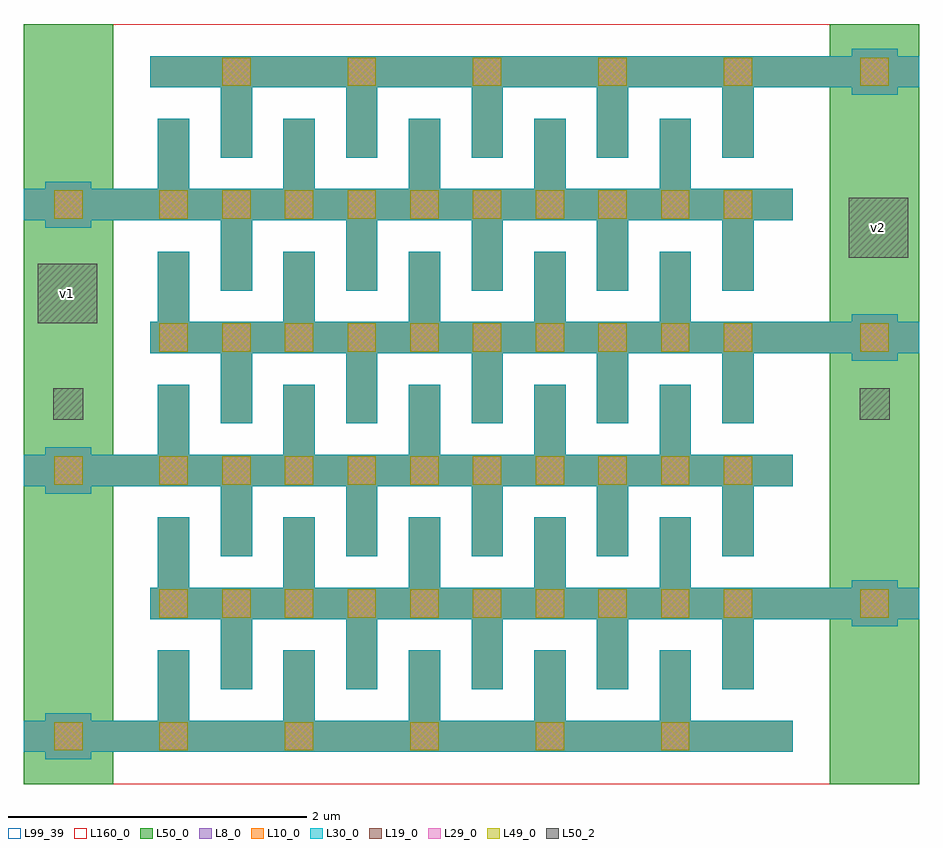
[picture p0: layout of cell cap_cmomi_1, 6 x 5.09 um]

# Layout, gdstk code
import gdstk
lib = gdstk.Library(unit=1e-6, precision=1e-09)
def R(c, l, rs):  # rectangles x0, y0, x1, y1
    for r in rs: c.add(gdstk.rectangle(r[:2], r[2:], *l))
def A(c, l, x, y, w, h, nx, ny, dx, dy):  # array of equal rectangles
    R(c, l, [(x+i*dx, y+j*dy, x+i*dx+w, y+j*dy+h) for i in range(nx) for j in range(ny)])
L8_0 = (8, 0)
L10_0 = (10, 0)
L19_0 = (19, 0)
L29_0 = (29, 0)
L30_0 = (30, 0)
L49_0 = (49, 0)
L50_0 = (50, 0)
L50_2 = (50, 2)
L99_39 = (99, 39)
L160_0 = (160, 0)

cap_cmomi = lib.new_cell('cap_cmomi')
A(cap_cmomi, L8_0, -0.755, -0.155, 0.31, 0.31, 1, 3, 0, 1.78)
A(cap_cmomi, L8_0, -0.9, -0.105, 5.15, 0.21, 1, 3, 0, 1.78)
A(cap_cmomi, L8_0, 0, 0, 0.21, 0.575, 5, 5, 0.84, 0.89)
A(cap_cmomi, L8_0, 0.42, 0.315, 0.21, 0.575, 5, 5, 0.84, 0.89)
A(cap_cmomi, L8_0, 4.645, 0.735, 0.31, 0.31, 1, 3, 0, 1.78)
A(cap_cmomi, L8_0, -0.05, 0.785, 5.15, 0.21, 1, 3, 0, 1.78)
A(cap_cmomi, L10_0, -0.755, -0.155, 0.31, 0.31, 1, 3, 0, 1.78)
A(cap_cmomi, L10_0, -0.9, -0.105, 5.15, 0.21, 1, 3, 0, 1.78)
A(cap_cmomi, L10_0, 0, 0, 0.21, 0.575, 5, 5, 0.84, 0.89)
A(cap_cmomi, L10_0, 0.42, 0.315, 0.21, 0.575, 5, 5, 0.84, 0.89)
A(cap_cmomi, L10_0, 4.645, 0.735, 0.31, 0.31, 1, 3, 0, 1.78)
A(cap_cmomi, L10_0, -0.05, 0.785, 5.15, 0.21, 1, 3, 0, 1.78)
A(cap_cmomi, L19_0, -0.695, -0.095, 0.19, 0.19, 1, 3, 0, 1.78)
A(cap_cmomi, L19_0, 0.01, -0.095, 0.19, 0.19, 5, 1, 0.84, 0)
A(cap_cmomi, L19_0, 0.01, 0.795, 0.19, 0.19, 10, 4, 0.42, 0.89)
A(cap_cmomi, L19_0, 4.705, 0.795, 0.19, 0.19, 1, 3, 0, 1.78)
A(cap_cmomi, L19_0, 0.43, 4.355, 0.19, 0.19, 5, 1, 0.84, 0)
A(cap_cmomi, L29_0, -0.695, -0.095, 0.19, 0.19, 1, 3, 0, 1.78)
A(cap_cmomi, L29_0, 0.01, -0.095, 0.19, 0.19, 5, 1, 0.84, 0)
A(cap_cmomi, L29_0, 0.01, 0.795, 0.19, 0.19, 10, 4, 0.42, 0.89)
A(cap_cmomi, L29_0, 4.705, 0.795, 0.19, 0.19, 1, 3, 0, 1.78)
A(cap_cmomi, L29_0, 0.43, 4.355, 0.19, 0.19, 5, 1, 0.84, 0)
A(cap_cmomi, L30_0, -0.755, -0.155, 0.31, 0.31, 1, 3, 0, 1.78)
A(cap_cmomi, L30_0, -0.9, -0.105, 5.15, 0.21, 1, 3, 0, 1.78)
A(cap_cmomi, L30_0, 0, 0, 0.21, 0.575, 5, 5, 0.84, 0.89)
A(cap_cmomi, L30_0, 0.42, 0.315, 0.21, 0.575, 5, 5, 0.84, 0.89)
A(cap_cmomi, L30_0, 4.645, 0.735, 0.31, 0.31, 1, 3, 0, 1.78)
A(cap_cmomi, L30_0, -0.05, 0.785, 5.15, 0.21, 1, 3, 0, 1.78)
A(cap_cmomi, L49_0, -0.695, -0.095, 0.19, 0.19, 1, 3, 0, 1.78)
A(cap_cmomi, L49_0, 0.01, -0.095, 0.19, 0.19, 5, 1, 0.84, 0)
A(cap_cmomi, L49_0, 0.01, 0.795, 0.19, 0.19, 10, 4, 0.42, 0.89)
A(cap_cmomi, L49_0, 4.705, 0.795, 0.19, 0.19, 1, 3, 0, 1.78)
A(cap_cmomi, L49_0, 0.43, 4.355, 0.19, 0.19, 5, 1, 0.84, 0)
A(cap_cmomi, L50_0, -0.9, -0.105, 5.15, 0.21, 1, 3, 0, 1.78)
A(cap_cmomi, L50_0, 0, 0, 0.21, 0.575, 5, 5, 0.84, 0.89)
A(cap_cmomi, L50_0, 0.42, 0.315, 0.21, 0.575, 5, 5, 0.84, 0.89)
A(cap_cmomi, L50_0, -0.05, 0.785, 5.15, 0.21, 1, 3, 0, 1.78)
R(cap_cmomi, L50_0, [(-0.9,-0.32,-0.3,4.77), (4.5,-0.32,5.1,4.77)])
R(cap_cmomi, L50_2, [(-0.7,2.12,-0.5,2.33), (4.7,2.12,4.9,2.33)])
R(cap_cmomi, L99_39, [(-0.9,-0.32,5.1,4.77)])
R(cap_cmomi, L160_0, [(-0.9,-0.32,5.1,4.77)])
cap_cmomi.add(gdstk.Label('cap_cmomi C=16.298fF', (-0.9,-0.82), layer=63, texttype=0))

cap_cmomi_1 = lib.new_cell('cap_cmomi_1')
R(cap_cmomi_1, L50_0, [(1.48,4.26,1.97,5.1), (6.94,4.64,7.38,5.64)])
R(cap_cmomi_1, L50_2, [(1.53,4.5,1.93,4.9), (6.96,4.94,7.36,5.34)])
cap_cmomi_1.add(gdstk.Reference(cap_cmomi, (2.335,1.735)))
cap_cmomi_1.add(gdstk.Label('v1', (1.73,4.7), layer=50, texttype=25))
cap_cmomi_1.add(gdstk.Label('v2', (7.16,5.14), layer=50, texttype=25))

lib.write_gds('cap_cmomi_1.gds')
